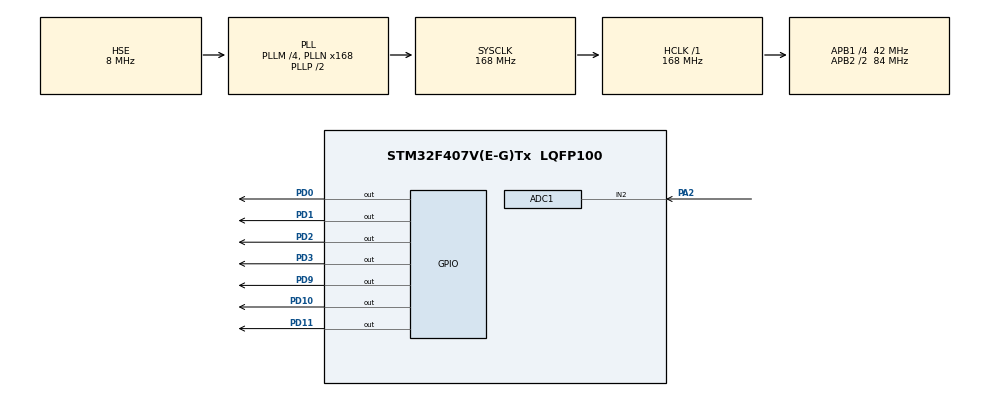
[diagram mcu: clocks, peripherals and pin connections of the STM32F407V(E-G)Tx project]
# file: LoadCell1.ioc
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ADC1.Channel-0\#ChannelRegularConversion=ADC_CHANNEL_2
ADC1.ExternalTrigConv=ADC_EXTERNALTRIGCONV_T3_TRGO
ADC1.NbrOfConversionFlag=1
ADC1.Rank-0\#ChannelRegularConversion=1
ADC1.SamplingTime-0\#ChannelRegularConversion=ADC_SAMPLETIME_3CYCLES
ADC1.master=1
Mcu.Family=STM32F4
Mcu.Name=STM32F407V(E-G)Tx
Mcu.Package=LQFP100
NVIC.ADC_IRQn=true\:0\:0\:false\:false\:true\:true\:true
NVIC.PriorityGroup=NVIC_PRIORITYGROUP_4
PA2.Signal=ADCx_IN2
PD0.Signal=GPIO_Output
PD1.Signal=GPIO_Output
PD10.Signal=GPIO_Output
PD11.Signal=GPIO_Output
PD2.Signal=GPIO_Output
PD3.Signal=GPIO_Output
PD9.Signal=GPIO_Output
PH0-OSC_IN.Mode=HSE-External-Oscillator
PH0-OSC_IN.Signal=RCC_OSC_IN
PH1-OSC_OUT.Mode=HSE-External-Oscillator
PH1-OSC_OUT.Signal=RCC_OSC_OUT
ProjectManager.HeapSize=0x200
ProjectManager.StackSize=0x400
ProjectManager.TargetToolchain=MDK-ARM V5
RCC.48MHZClocksFreq_Value=84000000
RCC.AHBFreq_Value=168000000
RCC.APB1CLKDivider=RCC_HCLK_DIV4
RCC.APB1Freq_Value=42000000
RCC.APB1TimFreq_Value=84000000
RCC.APB2CLKDivider=RCC_HCLK_DIV2
RCC.APB2Freq_Value=84000000
RCC.APB2TimFreq_Value=168000000
RCC.CortexFreq_Value=168000000
RCC.HCLKFreq_Value=168000000
RCC.HSE_VALUE=8000000
RCC.HSI_VALUE=16000000
RCC.LSE_VALUE=32768
RCC.PLLM=4
RCC.PLLN=168
RCC.PLLSourceVirtual=RCC_PLLSOURCE_HSE
RCC.SYSCLKFreq_VALUE=168000000
RCC.SYSCLKSource=RCC_SYSCLKSOURCE_PLLCLK
RCC.VCOOutputFreq_Value=336000000
SH.ADCx_IN2.0=ADC1_IN2,IN2
TIM3.Period=999
TIM3.Prescaler=167
TIM3.TIM_MasterOutputTrigger=TIM_TRGO_UPDATE
VP_TIM3_VS_ClockSourceINT.Mode=Internal
board=custom

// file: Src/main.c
/* USER CODE BEGIN Header */
/**
  ******************************************************************************
  * @file           : main.c
  * @brief          : Main program body
  ******************************************************************************
  * @attention
  *
  * <h2><center>&copy; Copyright (c) 2021 STMicroelectronics.
  * All rights reserved.</center></h2>
  *
  * This software component is licensed by ST under BSD 3-Clause license,
  * the "License"; You may not use this file except in compliance with the
  * License. You may obtain a copy of the License at:
  *                        opensource.org/licenses/BSD-3-Clause
  *
  ******************************************************************************
  */
/* USER CODE END Header */

#include "main.h"
#include "adc.h"
#include "tim.h"
#include "gpio.h"

/* USER CODE BEGIN Includes */
#include "LiquidCrystal.h"
#include "moving_average.h"

/* USER CODE END Includes */

/* USER CODE BEGIN PV */
uint32_t ADC_value = 0;
char LCDmsg[8] = "";
float voltage = 0;
float load = 0;
float p1 = 7.274;
float p2 = -0.06289;
FilterTypeDef mvFilter;
/* USER CODE END PV */

void SystemClock_Config(void);

/* USER CODE BEGIN 0 */
void HAL_ADC_ConvCpltCallback(ADC_HandleTypeDef* hadc);
/* USER CODE END 0 */

int main(void)
{

  /* MCU Configuration--------------------------------------------------------*/

  /* Reset of all peripherals, Initializes the Flash interface and the Systick. */
  HAL_Init();

  /* Configure the system clock */
  SystemClock_Config();

  /* Initialize all configured peripherals */
  MX_GPIO_Init();
  MX_ADC1_Init();
  MX_TIM3_Init();
  /* USER CODE BEGIN 2 */
	HAL_ADC_Start_IT(&hadc1);
	HAL_TIM_Base_Start(&htim3);
	LiquidCrystal(GPIOD, GPIO_PIN_9, GPIO_PIN_10, GPIO_PIN_11, GPIO_PIN_0, GPIO_PIN_1, GPIO_PIN_2, GPIO_PIN_3);
	Moving_Average_Init(&mvFilter);
  /* USER CODE END 2 */

  /* Infinite loop */
  while (1)
  {

    /* USER CODE BEGIN 3 */
		clear();
		sprintf(LCDmsg, "Volt = %f", voltage);
		print(LCDmsg);
		sprintf(LCDmsg, "Kilogram = %f", load);
		print(LCDmsg);
		HAL_Delay(1000);
  }
  /* USER CODE END 3 */
}

void SystemClock_Config(void)
{
  RCC_OscInitTypeDef RCC_OscInitStruct = {0};
  RCC_ClkInitTypeDef RCC_ClkInitStruct = {0};

  /** Configure the main internal regulator output voltage
  */
  __HAL_RCC_PWR_CLK_ENABLE();
  __HAL_PWR_VOLTAGESCALING_CONFIG(PWR_REGULATOR_VOLTAGE_SCALE1);
  /** Initializes the CPU, AHB and APB busses clocks
  */
  RCC_OscInitStruct.OscillatorType = RCC_OSCILLATORTYPE_HSE;
  RCC_OscInitStruct.HSEState = RCC_HSE_ON;
  RCC_OscInitStruct.PLL.PLLState = RCC_PLL_ON;
  RCC_OscInitStruct.PLL.PLLSource = RCC_PLLSOURCE_HSE;
  RCC_OscInitStruct.PLL.PLLM = 4;
  RCC_OscInitStruct.PLL.PLLN = 168;
  RCC_OscInitStruct.PLL.PLLP = RCC_PLLP_DIV2;
  RCC_OscInitStruct.PLL.PLLQ = 4;
  if (HAL_RCC_OscConfig(&RCC_OscInitStruct) != HAL_OK)
  {
    Error_Handler();
  }
  /** Initializes the CPU, AHB and APB busses clocks
  */
  RCC_ClkInitStruct.ClockType = RCC_CLOCKTYPE_HCLK|RCC_CLOCKTYPE_SYSCLK
                              |RCC_CLOCKTYPE_PCLK1|RCC_CLOCKTYPE_PCLK2;
  RCC_ClkInitStruct.SYSCLKSource = RCC_SYSCLKSOURCE_PLLCLK;
  RCC_ClkInitStruct.AHBCLKDivider = RCC_SYSCLK_DIV1;
  RCC_ClkInitStruct.APB1CLKDivider = RCC_HCLK_DIV4;
  RCC_ClkInitStruct.APB2CLKDivider = RCC_HCLK_DIV2;

  if (HAL_RCC_ClockConfig(&RCC_ClkInitStruct, FLASH_LATENCY_5) != HAL_OK)
  {
    Error_Handler();
  }
}

/* USER CODE BEGIN 4 */
void HAL_ADC_ConvCpltCallback(ADC_HandleTypeDef* hadc)
{
	ADC_value =  HAL_ADC_GetValue(&hadc1);
	ADC_value = Moving_Average_Compute(ADC_value, &mvFilter);
	voltage = ADC_value / 4096.0 * 3.3;
	load = p1*voltage + p2;

}
/* USER CODE END 4 */

void Error_Handler(void)
{
}

/************************ (C) COPYRIGHT STMicroelectronics *****END OF FILE****/
